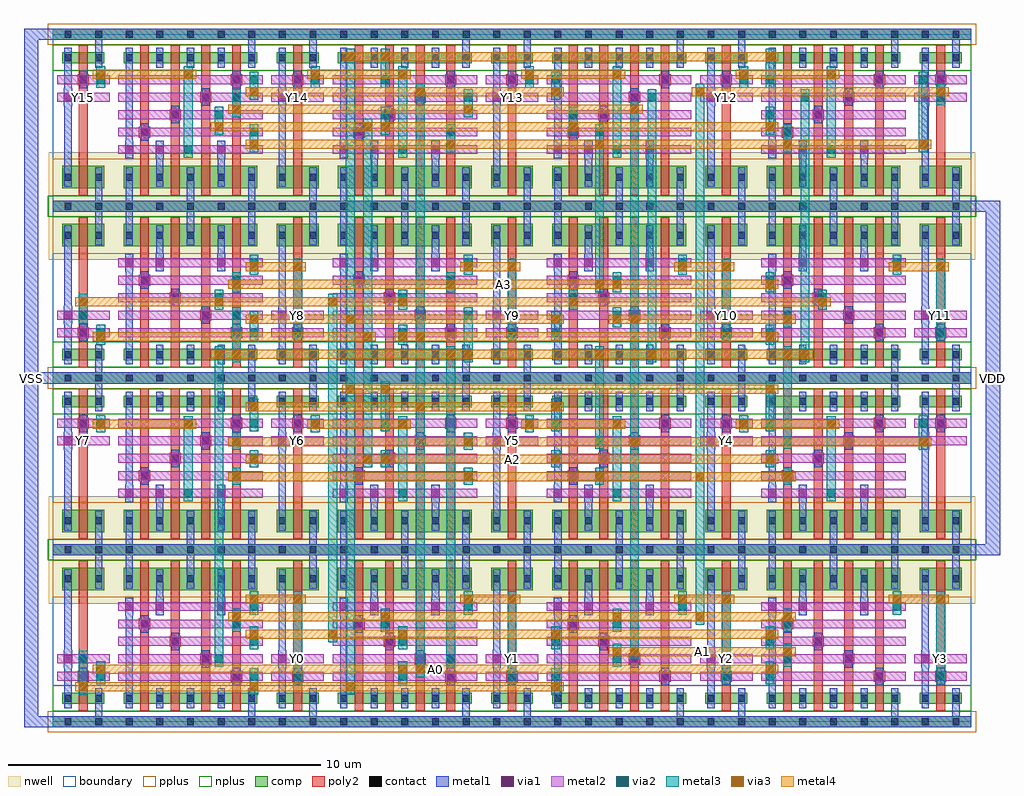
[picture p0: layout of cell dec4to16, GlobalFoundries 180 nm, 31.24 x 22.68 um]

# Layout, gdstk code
import gdstk
lib = gdstk.Library(unit=1e-6, precision=1e-09)
def R(c, l, rs):  # rectangles x0, y0, x1, y1
    for r in rs: c.add(gdstk.rectangle(r[:2], r[2:], *l))
def A(c, l, x, y, w, h, nx, ny, dx, dy):  # array of equal rectangles
    R(c, l, [(x+i*dx, y+j*dy, x+i*dx+w, y+j*dy+h) for i in range(nx) for j in range(ny)])
boundary = (0, 0)
nwell = (21, 0)
comp = (22, 0)
poly2 = (30, 0)
pplus = (31, 0)
nplus = (32, 0)
contact = (33, 0)
metal1 = (34, 0)
via1 = (35, 0)
metal2 = (36, 0)
via2 = (38, 0)
via3 = (40, 0)
metal3 = (42, 0)
metal4 = (46, 0)

inv = lib.new_cell('inv')
R(inv, boundary, [(0,0,1.96,5.5)])
R(inv, nwell, [(-0.12,3.78,2.08,5.8)])
R(inv, comp, [(0,-0.18,1.96,0.18), (0.31,0.57,1.65,0.93), (0.31,4.21,1.65,4.93), (0,5.32,1.96,5.68)])
R(inv, poly2, [(0.84,0.35,1.12,1.15), (0.84,1.15,1.12,3.99), (0.8,1.27,1.16,1.63), (0.84,3.99,1.12,5.15)])
R(inv, pplus, [(-0.16,-0.34,2.12,0.34), (0,3.98,1.96,5.16)])
R(inv, nplus, [(0,0.34,1.96,1.16), (-0.16,5.16,2.12,5.84)])
R(inv, contact, [(0.38,-0.11,0.6,0.11), (1.36,-0.11,1.58,0.11), (0.38,0.64,0.6,0.86), (1.36,0.64,1.58,0.86), (0.87,1.34,1.09,1.56), (0.38,4.46,0.6,4.68), (1.36,4.46,1.58,4.68), (0.38,5.39,0.6,5.61), (1.36,5.39,1.58,5.61)])
R(inv, metal1, [(0,-0.18,1.96,0.18), (1.355,0,1.585,0.435), (0.375,0.435,0.605,1.065), (1.355,0.435,1.585,1.065), (0.375,1.065,0.605,2.01), (0.85,1.17,1.11,1.73), (0.36,1.73,0.62,2.29), (0.36,1.73,0.62,2.29), (0.375,2.01,0.605,4.255), (0.375,4.255,0.605,4.885), (1.355,4.255,1.585,4.885), (1.355,4.885,1.585,5.5), (0,5.32,1.96,5.68)])
R(inv, via1, [(0.85,1.32,1.11,1.58), (0.36,1.88,0.62,2.14), (0.36,1.88,0.62,2.14)])
R(inv, metal2, [(0.14,1.31,1.82,1.59), (0.72,1.31,1.24,1.59), (0.14,1.87,1.82,2.15), (0.23,1.87,0.75,2.15), (0.23,1.87,0.75,2.15)])
inv.add(gdstk.Label('VSS', (0.98,0), layer=34, texttype=10))
inv.add(gdstk.Label('VDD', (0.98,5.5), layer=34, texttype=10))
inv.add(gdstk.Label('Y', (0.98,2.01), layer=36, texttype=10))
inv.add(gdstk.Label('A', (0.98,1.45), layer=36, texttype=10))

nand4 = lib.new_cell('nand4')
R(nand4, boundary, [(0,0,4.9,5.5)])
R(nand4, nwell, [(-0.12,3.78,5.02,5.8)])
R(nand4, comp, [(0,-0.18,4.9,0.18), (0.31,0.57,4.59,0.93), (0.31,4.21,4.59,4.93), (0,5.32,4.9,5.68)])
A(nand4, poly2, 0.84, 0.35, 0.28, 0.8, 4, 1, 0.98, 0)
A(nand4, poly2, 0.84, 1.15, 0.28, 2.84, 4, 1, 0.98, 0)
A(nand4, poly2, 0.84, 3.99, 0.28, 1.16, 4, 1, 0.98, 0)
R(nand4, poly2, [(3.74,1.27,4.1,1.63), (2.76,1.83,3.12,2.19), (1.78,2.39,2.14,2.75), (0.8,2.95,1.16,3.31)])
R(nand4, pplus, [(-0.16,-0.34,5.06,0.34), (0,3.98,4.9,5.16)])
R(nand4, nplus, [(0,0.34,4.9,1.16), (-0.16,5.16,5.06,5.84)])
A(nand4, contact, 0.38, -0.11, 0.22, 0.22, 5, 2, 0.98, 0.75)
A(nand4, contact, 0.38, 4.46, 0.22, 0.22, 5, 2, 0.98, 0.93)
R(nand4, contact, [(3.81,1.34,4.03,1.56), (2.83,1.9,3.05,2.12), (1.85,2.46,2.07,2.68), (0.87,3.02,1.09,3.24)])
A(nand4, metal1, 0.375, 0.435, 0.23, 0.63, 5, 2, 0.98, 3.82)
A(nand4, metal1, 0.375, 4.885, 0.23, 0.615, 3, 1, 1.96, 0)
R(nand4, metal1, [(0,-0.18,4.9,0.18), (4.295,0,4.525,0.435), (0.375,1.065,0.605,3.69), (3.79,1.17,4.05,1.73), (2.81,1.73,3.07,2.29), (1.83,2.29,2.09,2.85), (0.85,2.85,1.11,3.41), (0.36,3.41,0.62,3.97), (1.34,3.41,1.6,3.97), (3.3,3.41,3.56,3.97), (1.355,3.69,1.585,4.255), (3.315,3.69,3.545,4.255), (0,5.32,4.9,5.68)])
R(nand4, via1, [(3.79,1.32,4.05,1.58), (2.81,1.88,3.07,2.14), (1.83,2.44,2.09,2.7), (0.85,3,1.11,3.26), (0.36,3.56,0.62,3.82), (1.34,3.56,1.6,3.82), (3.3,3.56,3.56,3.82)])
A(nand4, metal2, 0.14, 1.31, 4.62, 0.28, 1, 5, 0, 0.56)
R(nand4, metal2, [(3.66,1.31,4.18,1.59), (2.68,1.87,3.2,2.15), (1.7,2.43,2.22,2.71), (0.72,2.99,1.24,3.27), (0.23,3.55,0.75,3.83), (1.21,3.55,1.73,3.83), (3.17,3.55,3.69,3.83)])
nand4.add(gdstk.Label('VSS', (2.45,0), layer=34, texttype=10))
nand4.add(gdstk.Label('VDD', (2.45,5.5), layer=34, texttype=10))
nand4.add(gdstk.Label('Y', (2.45,3.69), layer=36, texttype=10))
nand4.add(gdstk.Label('D', (2.45,3.13), layer=36, texttype=10))
nand4.add(gdstk.Label('C', (2.45,2.57), layer=36, texttype=10))
nand4.add(gdstk.Label('B', (2.45,2.01), layer=36, texttype=10))
nand4.add(gdstk.Label('A', (2.45,1.45), layer=36, texttype=10))

dec4to16 = lib.new_cell('dec4to16')
A(dec4to16, metal1, -0.92, -0.18, 0.92, 0.36, 1, 3, 0, 11)
R(dec4to16, metal1, [(-0.92,-0.18,-0.46,22.18), (29.4,5.32,30.32,5.68), (29.86,5.32,30.32,16.68), (29.4,16.32,30.32,16.68)])
A(dec4to16, metal2, 6.18, 3.55, 0.52, 0.28, 4, 2, 6.86, 11)
A(dec4to16, metal2, 4.08, 7.17, 0.52, 0.28, 4, 2, 6.86, 11)
R(dec4to16, metal2, [(1.28,1.31,1.8,1.59), (6.18,1.31,6.7,1.59), (7.58,1.31,8.1,1.59), (10.94,1.31,11.46,1.59), (14.44,1.31,14.96,1.59), (15.84,1.31,16.36,1.59), (21.3,1.31,21.82,1.59), (22.7,1.31,23.22,1.59), (28.16,1.31,28.68,1.59), (0.72,1.87,1.24,2.15), (5.06,1.87,5.58,2.15), (12.48,1.87,13,2.15), (17.8,1.87,18.32,2.15), (23.26,1.87,23.78,2.15), (6.18,2.43,6.7,2.71), (10.94,2.43,11.46,2.71), (15.84,2.43,16.36,2.71), (22.7,2.43,23.22,2.71), (5.62,2.99,6.14,3.27), (10.38,2.99,10.9,3.27), (17.8,2.99,18.32,3.27), (23.26,2.99,23.78,3.27), (5.62,7.73,6.14,8.01), (13.04,7.73,13.56,8.01), (17.24,7.73,17.76,8.01), (23.26,7.73,23.78,8.01), (6.18,8.29,6.7,8.57), (10.38,8.29,10.9,8.57), (15.84,8.29,16.36,8.57), (22.7,8.29,23.22,8.57), (5.62,8.85,6.14,9.13), (13.04,8.85,13.56,9.13), (17.24,8.85,17.76,9.13), (23.26,8.85,23.78,9.13), (27.3,8.85,27.58,9.13), (1.28,9.41,1.8,9.69), (6.18,9.41,6.7,9.69), (8.14,9.41,8.66,9.69), (10.38,9.41,10.9,9.69), (15,9.41,15.52,9.69), (15.84,9.41,16.36,9.69), (21.86,9.41,22.38,9.69), (22.7,9.41,23.22,9.69), (27.6,9.41,28.12,9.69), (1.28,12.31,1.8,12.59), (6.18,12.31,6.7,12.59), (7.58,12.31,8.1,12.59), (10.94,12.31,11.46,12.59), (14.44,12.31,14.96,12.59), (15.84,12.31,16.36,12.59), (21.3,12.31,21.82,12.59), (22.7,12.31,23.22,12.59), (28.16,12.31,28.68,12.59), (0.72,12.87,1.24,13.15), (5.62,12.87,6.14,13.15), (13.04,12.87,13.56,13.15), (17.8,12.87,18.32,13.15), (23.26,12.87,23.78,13.15), (5.06,13.43,5.58,13.71), (10.94,13.43,11.46,13.71), (16.4,13.43,16.92,13.71), (24.38,13.43,24.9,13.71), (5.62,13.99,6.14,14.27), (12.48,13.99,13,14.27), (17.8,13.99,18.32,14.27), (22.7,13.99,23.22,14.27), (6.18,18.73,6.7,19.01), (12.48,18.73,13,19.01), (17.24,18.73,17.76,19.01), (23.26,18.73,23.78,19.01), (5.06,19.29,5.58,19.57), (10.38,19.29,10.9,19.57), (16.4,19.29,16.92,19.57), (22.7,19.29,23.22,19.57), (5.62,19.85,6.14,20.13), (13.04,19.85,13.56,20.13), (18.92,19.85,19.44,20.13), (23.82,19.85,24.34,20.13), (28.16,19.85,28.68,20.13), (1.28,20.41,1.8,20.69), (6.18,20.41,6.7,20.69), (8.14,20.41,8.66,20.69), (10.38,20.41,10.9,20.69), (15,20.41,15.52,20.69), (15.84,20.41,16.36,20.69), (21.86,20.41,22.38,20.69), (22.7,20.41,23.22,20.69), (27.6,20.41,28.12,20.69)])
A(dec4to16, via2, 6.31, 3.56, 0.26, 0.26, 4, 2, 6.86, 11)
A(dec4to16, via2, 4.21, 7.18, 0.26, 0.26, 4, 2, 6.86, 11)
R(dec4to16, via2, [(1.41,1.32,1.67,1.58), (6.31,1.32,6.57,1.58), (7.71,1.32,7.97,1.58), (11.07,1.32,11.33,1.58), (14.57,1.32,14.83,1.58), (15.97,1.32,16.23,1.58), (21.43,1.32,21.69,1.58), (22.83,1.32,23.09,1.58), (28.29,1.32,28.55,1.58), (0.85,1.88,1.11,2.14), (5.19,1.88,5.45,2.14), (12.61,1.88,12.87,2.14), (17.93,1.88,18.19,2.14), (23.39,1.88,23.65,2.14), (6.31,2.44,6.57,2.7), (11.07,2.44,11.33,2.7), (15.97,2.44,16.23,2.7), (22.83,2.44,23.09,2.7), (5.75,3,6.01,3.26), (10.51,3,10.77,3.26), (17.93,3,18.19,3.26), (23.39,3,23.65,3.26), (5.75,7.74,6.01,8), (13.17,7.74,13.43,8), (17.37,7.74,17.63,8), (23.39,7.74,23.65,8), (6.31,8.3,6.57,8.56), (10.51,8.3,10.77,8.56), (15.97,8.3,16.23,8.56), (22.83,8.3,23.09,8.56), (5.75,8.86,6.01,9.12), (13.17,8.86,13.43,9.12), (17.37,8.86,17.63,9.12), (23.39,8.86,23.65,9.12), (1.41,9.42,1.67,9.68), (6.31,9.42,6.57,9.68), (8.27,9.42,8.53,9.68), (10.51,9.42,10.77,9.68), (15.13,9.42,15.39,9.68), (15.97,9.42,16.23,9.68), (21.99,9.42,22.25,9.68), (22.83,9.42,23.09,9.68), (27.73,9.42,27.99,9.68), (1.41,12.32,1.67,12.58), (6.31,12.32,6.57,12.58), (7.71,12.32,7.97,12.58), (11.07,12.32,11.33,12.58), (14.57,12.32,14.83,12.58), (15.97,12.32,16.23,12.58), (21.43,12.32,21.69,12.58), (22.83,12.32,23.09,12.58), (28.29,12.32,28.55,12.58), (0.85,12.88,1.11,13.14), (5.75,12.88,6.01,13.14), (13.17,12.88,13.43,13.14), (17.93,12.88,18.19,13.14), (23.39,12.88,23.65,13.14), (5.19,13.44,5.45,13.7), (11.07,13.44,11.33,13.7), (16.53,13.44,16.79,13.7), (24.51,13.44,24.77,13.7), (5.75,14,6.01,14.26), (12.61,14,12.87,14.26), (17.93,14,18.19,14.26), (22.83,14,23.09,14.26), (6.31,18.74,6.57,19), (12.61,18.74,12.87,19), (17.37,18.74,17.63,19), (23.39,18.74,23.65,19), (5.19,19.3,5.45,19.56), (10.51,19.3,10.77,19.56), (16.53,19.3,16.79,19.56), (22.83,19.3,23.09,19.56), (5.75,19.86,6.01,20.12), (13.17,19.86,13.43,20.12), (19.05,19.86,19.31,20.12), (23.95,19.86,24.21,20.12), (28.29,19.86,28.55,20.12), (1.41,20.42,1.67,20.68), (6.31,20.42,6.57,20.68), (8.27,20.42,8.53,20.68), (10.51,20.42,10.77,20.68), (15.13,20.42,15.39,20.68), (15.97,20.42,16.23,20.68), (21.99,20.42,22.25,20.68), (22.83,20.42,23.09,20.68), (27.73,20.42,27.99,20.68)])
A(dec4to16, via3, 13.17, 8.83, 0.26, 0.26, 1, 3, 0, 2.8)
A(dec4to16, via3, 22.83, 10.51, 0.26, 0.26, 1, 3, 0, 1.68)
R(dec4to16, via3, [(0.85,0.99,1.11,1.25), (6.31,0.99,6.57,1.25), (9.39,0.99,9.65,1.25), (15.97,0.99,16.23,1.25), (1.41,1.55,1.67,1.81), (11.07,1.55,11.33,1.81), (11.63,1.55,11.89,1.81), (22.83,1.55,23.09,1.81), (17.93,2.11,18.19,2.37), (18.49,2.11,18.75,2.37), (23.39,2.11,23.65,2.37), (6.31,2.67,6.57,2.93), (8.83,2.67,9.09,2.93), (11.07,2.67,11.33,2.93), (15.97,2.67,16.23,2.93), (22.83,2.67,23.09,2.93), (5.75,3.23,6.01,3.49), (10.51,3.23,10.77,3.49), (17.93,3.23,18.19,3.49), (20.59,3.23,20.85,3.49), (23.39,3.23,23.65,3.49), (6.31,3.79,6.57,4.05), (7.71,3.79,7.97,4.05), (13.17,3.79,13.43,4.05), (14.57,3.79,14.83,4.05), (20.03,3.79,20.29,4.05), (21.43,3.79,21.69,4.05), (26.89,3.79,27.15,4.05), (28.29,3.79,28.55,4.05), (5.75,7.71,6.01,7.97), (13.17,7.71,13.43,7.97), (17.37,7.71,17.63,7.97), (20.59,7.71,20.85,7.97), (23.39,7.71,23.65,7.97), (6.31,8.27,6.57,8.53), (9.95,8.27,10.21,8.53), (10.51,8.27,10.77,8.53), (15.97,8.27,16.23,8.53), (22.83,8.27,23.09,8.53), (5.75,8.83,6.01,9.09), (18.49,8.83,18.75,9.09), (27.73,8.83,27.99,9.09), (1.41,9.39,1.67,9.65), (4.21,9.39,4.47,9.65), (8.27,9.39,8.53,9.65), (11.07,9.39,11.33,9.65), (15.13,9.39,15.39,9.65), (17.93,9.39,18.19,9.65), (21.99,9.39,22.25,9.65), (24.79,9.39,25.05,9.65), (6.31,9.95,6.57,10.21), (11.63,9.95,11.89,10.21), (15.97,9.95,16.23,10.21), (9.39,10.51,9.65,10.77), (10.51,10.51,10.77,10.77), (5.19,11.63,5.45,11.89), (5.75,11.63,6.01,11.89), (12.61,11.63,12.87,11.89), (17.37,11.63,17.63,11.89), (19.05,11.63,19.31,11.89), (23.39,11.63,23.65,11.89), (23.95,11.63,24.21,11.89), (1.41,12.19,1.67,12.45), (9.95,12.19,10.21,12.45), (11.07,12.19,11.33,12.45), (11.63,12.19,11.89,12.45), (6.31,12.75,6.57,13.01), (9.39,12.75,9.65,13.01), (15.97,12.75,16.23,13.01), (17.93,12.75,18.19,13.01), (18.49,12.75,18.75,13.01), (23.39,12.75,23.65,13.01), (0.85,13.31,1.11,13.57), (5.19,13.31,5.45,13.57), (8.83,13.31,9.09,13.57), (11.07,13.31,11.33,13.57), (16.53,13.31,16.79,13.57), (24.51,13.31,24.77,13.57), (5.75,13.87,6.01,14.13), (12.61,13.87,12.87,14.13), (17.37,13.87,17.63,14.13), (17.93,13.87,18.19,14.13), (6.31,14.43,6.57,14.69), (7.71,14.43,7.97,14.69), (14.57,14.43,14.83,14.69), (20.03,14.43,20.29,14.69), (21.43,14.43,21.69,14.69), (26.89,14.43,27.15,14.69), (28.29,14.43,28.55,14.69), (6.31,18.35,6.57,18.61), (12.61,18.35,12.87,18.61), (17.37,18.35,17.63,18.61), (17.37,18.35,17.63,18.61), (23.39,18.35,23.65,18.61), (27.73,18.35,27.99,18.61), (5.19,18.91,5.45,19.17), (9.95,18.91,10.21,19.17), (10.51,18.91,10.77,19.17), (16.53,18.91,16.79,19.17), (22.83,18.91,23.09,19.17), (5.75,19.47,6.01,19.73), (13.17,19.47,13.43,19.73), (18.49,19.47,18.75,19.73), (6.31,20.03,6.57,20.29), (11.63,20.03,11.89,20.29), (15.97,20.03,16.23,20.29), (20.59,20.03,20.85,20.29), (28.29,20.03,28.55,20.29), (1.41,20.59,1.67,20.85), (4.21,20.59,4.47,20.85), (8.27,20.59,8.53,20.85), (11.07,20.59,11.33,20.85), (15.13,20.59,15.39,20.85), (17.93,20.59,18.19,20.85), (21.99,20.59,22.25,20.85), (24.79,20.59,25.05,20.85), (9.39,21.15,9.65,21.41), (10.51,21.15,10.77,21.41), (22.83,21.15,23.09,21.41)])
A(dec4to16, metal3, 7.7, 1.45, 0.28, 2.47, 4, 1, 6.86, 0)
A(dec4to16, metal3, 6.3, 3.43, 0.28, 0.52, 4, 2, 6.86, 11)
A(dec4to16, metal3, 6.3, 3.69, 0.28, 0.23, 4, 1, 6.86, 0)
A(dec4to16, metal3, 4.2, 7.05, 0.28, 0.52, 4, 2, 6.86, 11)
A(dec4to16, metal3, 4.2, 7.31, 0.28, 2.21, 4, 1, 6.86, 0)
A(dec4to16, metal3, 1.4, 9.52, 0.28, 0.03, 4, 1, 6.86, 0)
A(dec4to16, metal3, 7.7, 12.45, 0.28, 2.11, 4, 1, 6.86, 0)
A(dec4to16, metal3, 6.3, 14.56, 0.28, 0.13, 4, 1, 6.86, 0)
A(dec4to16, metal3, 4.2, 18.31, 0.28, 2.41, 4, 1, 6.86, 0)
A(dec4to16, metal3, 1.4, 20.55, 0.28, 0.17, 4, 1, 6.86, 0)
R(dec4to16, metal3, [(0.84,0.86,1.12,1.38), (6.3,0.86,6.58,1.38), (9.38,0.86,9.66,1.38), (15.96,0.86,16.24,1.38), (0.84,1.12,1.12,2.01), (6.3,1.12,6.58,1.45), (9.38,1.12,9.66,21.28), (15.96,1.12,16.24,1.45), (1.4,1.19,1.68,1.71), (6.3,1.19,6.58,1.71), (7.7,1.19,7.98,1.71), (11.06,1.19,11.34,1.71), (14.56,1.19,14.84,1.71), (15.96,1.19,16.24,1.71), (21.42,1.19,21.7,1.71), (22.82,1.19,23.1,1.71), (28.28,1.19,28.56,1.71), (1.4,1.42,1.68,1.94), (11.06,1.42,11.34,1.94), (11.62,1.42,11.9,1.94), (22.82,1.42,23.1,1.94), (1.4,1.45,1.68,1.68), (11.06,1.45,11.34,1.68), (22.82,1.45,23.1,1.68), (11.62,1.68,11.9,20.16), (0.84,1.75,1.12,2.27), (5.18,1.75,5.46,2.27), (12.6,1.75,12.88,2.27), (17.92,1.75,18.2,2.27), (23.38,1.75,23.66,2.27), (17.92,1.98,18.2,2.5), (18.48,1.98,18.76,2.5), (23.38,1.98,23.66,2.5), (5.18,2.01,5.46,11.76), (12.6,2.01,12.88,11.76), (17.92,2.01,18.2,2.24), (23.38,2.01,23.66,2.24), (18.48,2.24,18.76,19.6), (6.3,2.31,6.58,2.83), (11.06,2.31,11.34,2.83), (15.96,2.31,16.24,2.83), (22.82,2.31,23.1,2.83), (6.3,2.54,6.58,3.06), (8.82,2.54,9.1,3.06), (11.06,2.54,11.34,3.06), (15.96,2.54,16.24,3.06), (22.82,2.54,23.1,3.06), (6.3,2.57,6.58,2.8), (11.06,2.57,11.34,2.8), (15.96,2.57,16.24,2.8), (22.82,2.57,23.1,2.8), (8.82,2.8,9.1,13.44), (5.74,2.87,6.02,3.39), (10.5,2.87,10.78,3.39), (17.92,2.87,18.2,3.39), (23.38,2.87,23.66,3.39), (5.74,3.1,6.02,3.62), (10.5,3.1,10.78,3.62), (17.92,3.1,18.2,3.62), (20.58,3.1,20.86,3.62), (23.38,3.1,23.66,3.62), (5.74,3.13,6.02,3.36), (10.5,3.13,10.78,3.36), (17.92,3.13,18.2,3.36), (23.38,3.13,23.66,3.36), (20.58,3.36,20.86,20.16), (6.3,3.66,6.58,4.18), (7.7,3.66,7.98,4.18), (13.16,3.66,13.44,4.18), (14.56,3.66,14.84,4.18), (20.02,3.66,20.3,4.18), (21.42,3.66,21.7,4.18), (26.88,3.66,27.16,4.18), (28.28,3.66,28.56,4.18), (5.74,7.58,6.02,8.1), (13.16,7.58,13.44,8.1), (17.36,7.58,17.64,8.1), (20.58,7.58,20.86,8.1), (23.38,7.58,23.66,8.1), (5.74,7.61,6.02,8.13), (13.16,7.61,13.44,8.13), (17.36,7.61,17.64,8.13), (23.38,7.61,23.66,8.13), (5.74,7.84,6.02,7.87), (13.16,7.84,13.44,7.87), (17.36,7.84,17.64,7.87), (23.38,7.84,23.66,7.87), (6.3,8.14,6.58,8.66), (9.94,8.14,10.22,8.66), (10.5,8.14,10.78,8.66), (15.96,8.14,16.24,8.66), (22.82,8.14,23.1,8.66), (6.3,8.17,6.58,8.69), (10.5,8.17,10.78,8.69), (15.96,8.17,16.24,8.69), (22.82,8.17,23.1,8.69), (6.3,8.4,6.58,8.43), (9.94,8.4,10.22,19.04), (10.5,8.4,10.78,8.43), (15.96,8.4,16.24,8.43), (22.82,8.4,23.1,8.43), (5.74,8.7,6.02,9.22), (13.16,8.7,13.44,9.22), (18.48,8.7,18.76,9.22), (27.72,8.7,28,9.22), (5.74,8.73,6.02,9.25), (13.16,8.73,13.44,9.25), (17.36,8.73,17.64,9.25), (23.38,8.73,23.66,9.25), (5.74,8.96,6.02,8.99), (13.16,8.96,13.44,8.99), (27.72,8.96,28,9.55), (17.36,8.99,17.64,11.76), (23.38,8.99,23.66,11.76), (1.4,9.26,1.68,9.78), (4.2,9.26,4.48,9.78), (8.26,9.26,8.54,9.78), (11.06,9.26,11.34,9.78), (15.12,9.26,15.4,9.78), (17.92,9.26,18.2,9.78), (21.98,9.26,22.26,9.78), (24.78,9.26,25.06,9.78), (1.4,9.29,1.68,9.81), (6.3,9.29,6.58,9.81), (8.26,9.29,8.54,9.81), (10.5,9.29,10.78,9.81), (15.12,9.29,15.4,9.81), (15.96,9.29,16.24,9.81), (21.98,9.29,22.26,9.81), (22.82,9.29,23.1,9.81), (27.72,9.29,28,9.81), (6.3,9.55,6.58,10.08), (10.5,9.55,10.78,10.64), (15.96,9.55,16.24,10.08), (22.82,9.55,23.1,10.64), (6.3,9.82,6.58,10.34), (11.62,9.82,11.9,10.34), (15.96,9.82,16.24,10.34), (9.38,10.38,9.66,10.9), (10.5,10.38,10.78,10.9), (22.82,10.38,23.1,10.9), (5.18,11.5,5.46,12.02), (5.74,11.5,6.02,12.02), (12.6,11.5,12.88,12.02), (13.16,11.5,13.44,12.02), (17.36,11.5,17.64,12.02), (19.04,11.5,19.32,12.02), (23.38,11.5,23.66,12.02), (23.94,11.5,24.22,12.02), (5.74,11.76,6.02,13.01), (13.16,11.76,13.44,13.01), (19.04,11.76,19.32,19.99), (23.94,11.76,24.22,19.99), (1.4,12.06,1.68,12.58), (9.94,12.06,10.22,12.58), (11.06,12.06,11.34,12.58), (11.62,12.06,11.9,12.58), (22.82,12.06,23.1,12.58), (1.4,12.19,1.68,12.71), (6.3,12.19,6.58,12.71), (7.7,12.19,7.98,12.71), (11.06,12.19,11.34,12.71), (14.56,12.19,14.84,12.71), (15.96,12.19,16.24,12.71), (21.42,12.19,21.7,12.71), (22.82,12.19,23.1,12.71), (28.28,12.19,28.56,12.71), (1.4,12.32,1.68,12.45), (11.06,12.32,11.34,12.45), (22.82,12.32,23.1,12.45), (6.3,12.45,6.58,12.88), (15.96,12.45,16.24,12.88), (6.3,12.62,6.58,13.14), (9.38,12.62,9.66,13.14), (15.96,12.62,16.24,13.14), (17.92,12.62,18.2,13.14), (18.48,12.62,18.76,13.14), (23.38,12.62,23.66,13.14), (0.84,12.75,1.12,13.27), (5.74,12.75,6.02,13.27), (13.16,12.75,13.44,13.27), (17.92,12.75,18.2,13.27), (23.38,12.75,23.66,13.27), (17.92,12.88,18.2,13.01), (23.38,12.88,23.66,13.01), (0.84,13.01,1.12,13.44), (0.84,13.18,1.12,13.7), (5.18,13.18,5.46,13.7), (8.82,13.18,9.1,13.7), (11.06,13.18,11.34,13.7), (16.52,13.18,16.8,13.7), (24.5,13.18,24.78,13.7), (5.18,13.31,5.46,13.83), (11.06,13.31,11.34,13.83), (16.52,13.31,16.8,13.83), (24.5,13.31,24.78,13.83), (5.18,13.44,5.46,13.57), (11.06,13.44,11.34,13.57), (16.52,13.44,16.8,13.57), (24.5,13.44,24.78,13.57), (5.74,13.74,6.02,14.26), (12.6,13.74,12.88,14.26), (17.36,13.74,17.64,14.26), (17.92,13.74,18.2,14.26), (22.82,13.74,23.1,14.26), (5.74,13.87,6.02,14.39), (12.6,13.87,12.88,14.39), (17.92,13.87,18.2,14.39), (22.82,13.87,23.1,14.39), (5.74,14,6.02,14.13), (12.6,14,12.88,14.13), (17.36,14,17.64,18.48), (17.92,14,18.2,14.13), (22.82,14,23.1,14.13), (6.3,14.3,6.58,14.82), (7.7,14.3,7.98,14.82), (13.16,14.3,13.44,14.82), (14.56,14.3,14.84,14.82), (20.02,14.3,20.3,14.82), (21.42,14.3,21.7,14.82), (26.88,14.3,27.16,14.82), (28.28,14.3,28.56,14.82), (6.3,18.22,6.58,18.74), (12.6,18.22,12.88,18.74), (17.36,18.22,17.64,18.74), (17.36,18.22,17.64,18.74), (23.38,18.22,23.66,18.74), (27.72,18.22,28,18.74), (6.3,18.48,6.58,18.87), (12.6,18.48,12.88,18.87), (17.36,18.48,17.64,18.87), (23.38,18.48,23.66,18.87), (27.72,18.48,28,20.55), (6.3,18.61,6.58,19.13), (12.6,18.61,12.88,19.13), (17.36,18.61,17.64,19.13), (23.38,18.61,23.66,19.13), (5.18,18.78,5.46,19.3), (9.94,18.78,10.22,19.3), (10.5,18.78,10.78,19.3), (16.52,18.78,16.8,19.3), (22.82,18.78,23.1,19.3), (5.18,19.04,5.46,19.43), (10.5,19.04,10.78,19.43), (16.52,19.04,16.8,19.43), (22.82,19.04,23.1,19.43), (5.18,19.17,5.46,19.69), (10.5,19.17,10.78,19.69), (16.52,19.17,16.8,19.69), (22.82,19.17,23.1,19.69), (5.74,19.34,6.02,19.86), (13.16,19.34,13.44,19.86), (18.48,19.34,18.76,19.86), (5.74,19.6,6.02,19.99), (13.16,19.6,13.44,19.99), (5.74,19.73,6.02,20.25), (13.16,19.73,13.44,20.25), (19.04,19.73,19.32,20.25), (23.94,19.73,24.22,20.25), (28.28,19.73,28.56,20.25), (6.3,19.9,6.58,20.42), (11.62,19.9,11.9,20.42), (15.96,19.9,16.24,20.42), (20.58,19.9,20.86,20.42), (28.28,19.9,28.56,20.42), (28.28,19.99,28.56,20.16), (6.3,20.16,6.58,20.55), (15.96,20.16,16.24,20.55), (1.4,20.29,1.68,20.81), (6.3,20.29,6.58,20.81), (8.26,20.29,8.54,20.81), (10.5,20.29,10.78,20.81), (15.12,20.29,15.4,20.81), (15.96,20.29,16.24,20.81), (21.98,20.29,22.26,20.81), (22.82,20.29,23.1,20.81), (27.72,20.29,28,20.81), (1.4,20.46,1.68,20.98), (4.2,20.46,4.48,20.98), (8.26,20.46,8.54,20.98), (11.06,20.46,11.34,20.98), (15.12,20.46,15.4,20.98), (17.92,20.46,18.2,20.98), (21.98,20.46,22.26,20.98), (24.78,20.46,25.06,20.98), (10.5,20.55,10.78,21.28), (22.82,20.55,23.1,21.28), (9.38,21.02,9.66,21.54), (10.5,21.02,10.78,21.54), (22.82,21.02,23.1,21.54)])
A(dec4to16, metal4, 6.44, 3.78, 1.4, 0.28, 4, 2, 6.86, 10.64)
A(dec4to16, metal4, 13.04, 8.82, 0.52, 0.28, 1, 3, 0, 2.8)
A(dec4to16, metal4, 1.54, 9.38, 2.8, 0.28, 4, 2, 6.86, 11.2)
A(dec4to16, metal4, 22.7, 10.5, 0.52, 0.28, 1, 3, 0, 1.68)
R(dec4to16, metal4, [(0.72,0.98,1.24,1.26), (0.98,0.98,16.1,1.26), (6.18,0.98,6.7,1.26), (9.26,0.98,9.78,1.26), (15.84,0.98,16.36,1.26), (1.28,1.54,1.8,1.82), (1.54,1.54,22.96,1.82), (10.94,1.54,11.46,1.82), (11.5,1.54,12.02,1.82), (22.7,1.54,23.22,1.82), (17.8,2.1,18.32,2.38), (18.06,2.1,23.52,2.38), (18.36,2.1,18.88,2.38), (23.26,2.1,23.78,2.38), (6.18,2.66,6.7,2.94), (6.44,2.66,22.96,2.94), (8.7,2.66,9.22,2.94), (10.94,2.66,11.46,2.94), (15.84,2.66,16.36,2.94), (22.7,2.66,23.22,2.94), (5.62,3.22,6.14,3.5), (5.88,3.22,23.52,3.5), (10.38,3.22,10.9,3.5), (17.8,3.22,18.32,3.5), (20.46,3.22,20.98,3.5), (23.26,3.22,23.78,3.5), (6.18,3.78,6.7,4.06), (7.58,3.78,8.1,4.06), (13.04,3.78,13.56,4.06), (14.44,3.78,14.96,4.06), (19.9,3.78,20.42,4.06), (21.3,3.78,21.82,4.06), (26.76,3.78,27.28,4.06), (28.16,3.78,28.68,4.06), (5.62,7.7,6.14,7.98), (5.88,7.7,23.52,7.98), (13.04,7.7,13.56,7.98), (17.24,7.7,17.76,7.98), (20.46,7.7,20.98,7.98), (23.26,7.7,23.78,7.98), (6.18,8.26,6.7,8.54), (6.44,8.26,22.96,8.54), (9.82,8.26,10.34,8.54), (10.38,8.26,10.9,8.54), (15.84,8.26,16.36,8.54), (22.7,8.26,23.22,8.54), (5.62,8.82,6.14,9.1), (5.88,8.82,27.86,9.1), (18.36,8.82,18.88,9.1), (27.6,8.82,28.12,9.1), (1.28,9.38,1.8,9.66), (4.08,9.38,4.6,9.66), (8.14,9.38,8.66,9.66), (10.94,9.38,11.46,9.66), (15,9.38,15.52,9.66), (17.8,9.38,18.32,9.66), (21.86,9.38,22.38,9.66), (24.66,9.38,25.18,9.66), (6.18,9.94,6.7,10.22), (6.44,9.94,16.1,10.22), (11.5,9.94,12.02,10.22), (15.84,9.94,16.36,10.22), (9.26,10.5,9.78,10.78), (9.52,10.5,22.96,10.78), (10.38,10.5,10.9,10.78), (5.06,11.62,5.58,11.9), (5.32,11.62,24.08,11.9), (5.62,11.62,6.14,11.9), (12.48,11.62,13,11.9), (17.24,11.62,17.76,11.9), (18.92,11.62,19.44,11.9), (23.26,11.62,23.78,11.9), (23.82,11.62,24.34,11.9), (1.28,12.18,1.8,12.46), (1.54,12.18,10.08,12.46), (9.82,12.18,10.34,12.46), (10.94,12.18,11.46,12.46), (11.2,12.18,22.96,12.46), (11.5,12.18,12.02,12.46), (6.18,12.74,6.7,13.02), (6.44,12.74,16.1,13.02), (9.26,12.74,9.78,13.02), (15.84,12.74,16.36,13.02), (17.8,12.74,18.32,13.02), (18.06,12.74,23.52,13.02), (18.36,12.74,18.88,13.02), (23.26,12.74,23.78,13.02), (0.72,13.3,1.24,13.58), (0.98,13.3,24.64,13.58), (5.06,13.3,5.58,13.58), (8.7,13.3,9.22,13.58), (10.94,13.3,11.46,13.58), (16.4,13.3,16.92,13.58), (24.38,13.3,24.9,13.58), (5.62,13.86,6.14,14.14), (5.88,13.86,22.96,14.14), (12.48,13.86,13,14.14), (17.24,13.86,17.76,14.14), (17.8,13.86,18.32,14.14), (6.18,14.42,6.7,14.7), (7.58,14.42,8.1,14.7), (14.44,14.42,14.96,14.7), (19.9,14.42,20.42,14.7), (21.3,14.42,21.82,14.7), (26.76,14.42,27.28,14.7), (28.16,14.42,28.68,14.7), (6.18,18.34,6.7,18.62), (6.44,18.34,27.86,18.62), (12.48,18.34,13,18.62), (17.24,18.34,17.76,18.62), (17.24,18.34,17.76,18.62), (23.26,18.34,23.78,18.62), (27.6,18.34,28.12,18.62), (5.06,18.9,5.58,19.18), (5.32,18.9,22.96,19.18), (9.82,18.9,10.34,19.18), (10.38,18.9,10.9,19.18), (16.4,18.9,16.92,19.18), (22.7,18.9,23.22,19.18), (5.62,19.46,6.14,19.74), (5.88,19.46,18.62,19.74), (13.04,19.46,13.56,19.74), (18.36,19.46,18.88,19.74), (6.18,20.02,6.7,20.3), (6.44,20.02,16.1,20.3), (11.5,20.02,12.02,20.3), (15.84,20.02,16.36,20.3), (20.46,20.02,20.98,20.3), (20.72,20.02,28.42,20.3), (28.16,20.02,28.68,20.3), (1.28,20.58,1.8,20.86), (4.08,20.58,4.6,20.86), (8.14,20.58,8.66,20.86), (10.94,20.58,11.46,20.86), (15,20.58,15.52,20.86), (17.8,20.58,18.32,20.86), (21.86,20.58,22.38,20.86), (24.66,20.58,25.18,20.86), (9.26,21.14,9.78,21.42), (9.52,21.14,22.96,21.42), (10.38,21.14,10.9,21.42), (22.7,21.14,23.22,21.42)])
dec4to16.add(gdstk.Reference(inv, (0,0)))
dec4to16.add(gdstk.Reference(nand4, (1.96,0)))
dec4to16.add(gdstk.Reference(inv, (6.86,0)))
dec4to16.add(gdstk.Reference(nand4, (8.82,0)))
dec4to16.add(gdstk.Reference(inv, (13.72,0)))
dec4to16.add(gdstk.Reference(nand4, (15.68,0)))
dec4to16.add(gdstk.Reference(inv, (20.58,0)))
dec4to16.add(gdstk.Reference(nand4, (22.54,0)))
dec4to16.add(gdstk.Reference(inv, (27.44,0)))
dec4to16.add(gdstk.Reference(inv, (0,11), x_reflection=True))
dec4to16.add(gdstk.Reference(nand4, (1.96,11), x_reflection=True))
dec4to16.add(gdstk.Reference(inv, (6.86,11), x_reflection=True))
dec4to16.add(gdstk.Reference(nand4, (8.82,11), x_reflection=True))
dec4to16.add(gdstk.Reference(inv, (13.72,11), x_reflection=True))
dec4to16.add(gdstk.Reference(nand4, (15.68,11), x_reflection=True))
dec4to16.add(gdstk.Reference(inv, (20.58,11), x_reflection=True))
dec4to16.add(gdstk.Reference(nand4, (22.54,11), x_reflection=True))
dec4to16.add(gdstk.Reference(inv, (27.44,11), x_reflection=True))
dec4to16.add(gdstk.Reference(inv, (0,11)))
dec4to16.add(gdstk.Reference(nand4, (1.96,11)))
dec4to16.add(gdstk.Reference(inv, (6.86,11)))
dec4to16.add(gdstk.Reference(nand4, (8.82,11)))
dec4to16.add(gdstk.Reference(inv, (13.72,11)))
dec4to16.add(gdstk.Reference(nand4, (15.68,11)))
dec4to16.add(gdstk.Reference(inv, (20.58,11)))
dec4to16.add(gdstk.Reference(nand4, (22.54,11)))
dec4to16.add(gdstk.Reference(inv, (27.44,11)))
dec4to16.add(gdstk.Reference(inv, (0,22), x_reflection=True))
dec4to16.add(gdstk.Reference(nand4, (1.96,22), x_reflection=True))
dec4to16.add(gdstk.Reference(inv, (6.86,22), x_reflection=True))
dec4to16.add(gdstk.Reference(nand4, (8.82,22), x_reflection=True))
dec4to16.add(gdstk.Reference(inv, (13.72,22), x_reflection=True))
dec4to16.add(gdstk.Reference(nand4, (15.68,22), x_reflection=True))
dec4to16.add(gdstk.Reference(inv, (20.58,22), x_reflection=True))
dec4to16.add(gdstk.Reference(nand4, (22.54,22), x_reflection=True))
dec4to16.add(gdstk.Reference(inv, (27.44,22), x_reflection=True))
dec4to16.add(gdstk.Label('VSS', (-0.69,11), layer=34, texttype=10))
dec4to16.add(gdstk.Label('VDD', (30.09,11), layer=34, texttype=10))
dec4to16.add(gdstk.Label('Y0', (7.84,2.01), layer=36, texttype=10))
dec4to16.add(gdstk.Label('Y1', (14.7,2.01), layer=36, texttype=10))
dec4to16.add(gdstk.Label('Y10', (21.56,13.01), layer=36, texttype=10))
dec4to16.add(gdstk.Label('Y11', (28.42,13.01), layer=36, texttype=10))
dec4to16.add(gdstk.Label('Y12', (21.56,19.99), layer=36, texttype=10))
dec4to16.add(gdstk.Label('Y13', (14.7,19.99), layer=36, texttype=10))
dec4to16.add(gdstk.Label('Y14', (7.84,19.99), layer=36, texttype=10))
dec4to16.add(gdstk.Label('Y15', (0.98,19.99), layer=36, texttype=10))
dec4to16.add(gdstk.Label('Y2', (21.56,2.01), layer=36, texttype=10))
dec4to16.add(gdstk.Label('Y3', (28.42,2.01), layer=36, texttype=10))
dec4to16.add(gdstk.Label('Y4', (21.56,8.99), layer=36, texttype=10))
dec4to16.add(gdstk.Label('Y5', (14.7,8.99), layer=36, texttype=10))
dec4to16.add(gdstk.Label('Y6', (7.84,8.99), layer=36, texttype=10))
dec4to16.add(gdstk.Label('Y7', (0.98,8.99), layer=36, texttype=10))
dec4to16.add(gdstk.Label('Y8', (7.84,13.01), layer=36, texttype=10))
dec4to16.add(gdstk.Label('Y9', (14.7,13.01), layer=36, texttype=10))
dec4to16.add(gdstk.Label('A0', (12.25,1.68), layer=46, texttype=10))
dec4to16.add(gdstk.Label('A1', (20.79,2.24), layer=46, texttype=10))
dec4to16.add(gdstk.Label('A2', (14.7,8.4), layer=46, texttype=10))
dec4to16.add(gdstk.Label('A3', (14.42,14), layer=46, texttype=10))

lib.write_gds('dec4to16.gds')
